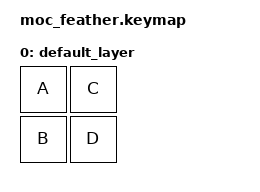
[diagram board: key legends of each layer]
/*
 * Copyright (c) 2022 The ZMK Contributors
 *
 * SPDX-License-Identifier: MIT
 */

#include <behaviors.dtsi>
#include <dt-bindings/zmk/keys.h>

/ {

    keymap {
        compatible = "zmk,keymap";

        default_layer {
            bindings = <
                &kp A      &kp C
                &kp B      &kp D
            >;
        };

    };
};
